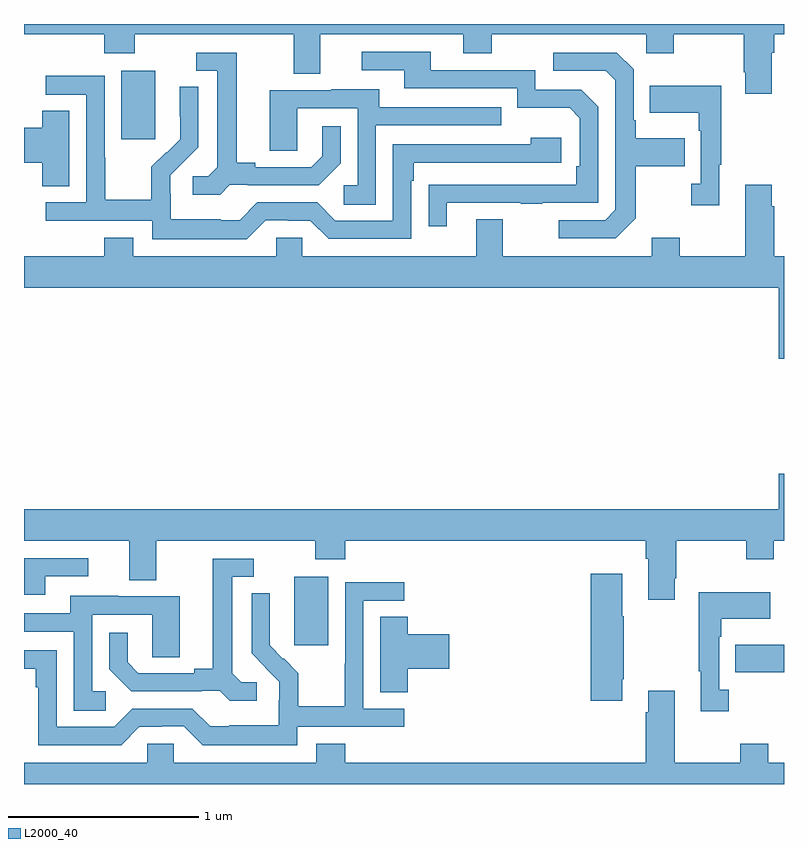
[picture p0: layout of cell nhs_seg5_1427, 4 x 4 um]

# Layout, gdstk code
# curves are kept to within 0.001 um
import gdstk
lib = gdstk.Library(unit=1e-6, precision=1e-09)
def R(c, l, rs):  # rectangles x0, y0, x1, y1
    for r in rs: c.add(gdstk.rectangle(r[:2], r[2:], *l))
def P(c, l, *ps):  # polygons
    for p in ps: c.add(gdstk.Polygon(p, *l))
L2000_40 = (2000, 40)

nhs_seg5_1427 = lib.new_cell('nhs_seg5_1427')
R(nhs_seg5_1427, L2000_40, [(200.743,869.386,201,869.533), (198.422,869.529,198.601,869.89), (197.513,872.193,197.692,872.554)])
P(nhs_seg5_1427, L2000_40, [(200.935,872.648),(200.948,872.648),(200.948,872.744),(201,872.744),(201,872.799),(197,872.799),(197,872.744),(197.423,872.744),(197.423,872.645),(197.583,872.645),(197.583,872.744),(198.419,872.744),(198.419,872.536),(198.559,872.536),(198.559,872.744),(199.313,872.744),(199.313,872.645),(199.461,872.645),(199.461,872.744),(200.274,872.744),(200.274,872.645),(200.421,872.645),(200.421,872.744),(200.788,872.744),(200.788,872.545),(200.795,872.545),(200.795,872.433),(200.935,872.433)],
  [(199.225,871.857),(199.615,871.857),(199.615,871.852),(199.727,871.852),(199.727,871.857),(200.022,871.857),(200.022,872.364),(199.932,872.454),(199.692,872.454),(199.692,872.556),(199.141,872.556),(199.141,872.652),(198.777,872.652),(198.777,872.556),(199.001,872.556),(199.001,872.46),(199.596,872.46),(199.596,872.357),(199.873,872.357),(199.926,872.304),(199.926,872.05),(199.906,872.05),(199.906,871.953),(199.129,871.952),(199.129,871.734),(199.225,871.734)],
  [(198.084,871.953),(198.178,871.953),(198.178,871.95),(198.55,871.95),(198.666,872.066),(198.666,872.26),(198.569,872.26),(198.569,872.103),(198.512,872.046),(198.217,872.046),(198.217,872.069),(198.121,872.069),(198.121,872.649),(197.907,872.649),(197.907,872.553),(198.017,872.553),(198.017,872.045),(197.97,871.998),(197.889,871.998),(197.889,871.901),(198.032,871.901)],
  [(200.221,871.777),(200.221,872.05),(200.477,872.05),(200.477,872.197),(200.221,872.197),(200.221,872.293),(200.208,872.293),(200.208,872.562),(200.121,872.649),(199.785,872.649),(199.785,872.553),(200.061,872.553),(200.112,872.502),(200.112,871.821),(200.058,871.767),(199.815,871.767),(199.815,871.671),(200.115,871.671)],
  [(198.273,871.767),(198.389,871.767),(198.389,871.764),(198.507,871.764),(198.603,871.668),(199.038,871.668),(199.038,871.973),(199.051,871.973),(199.051,872.07),(199.828,872.07),(199.828,872.2),(199.667,872.2),(199.667,872.166),(198.942,872.166),(198.942,871.764),(198.639,871.764),(198.543,871.86),(198.228,871.86),(198.135,871.767),(198.035,871.767),(198.035,871.771),(197.772,871.771),(197.772,871.905),(197.77,871.905),(197.77,872.002),(197.916,872.15),(197.916,872.468),(197.82,872.468),(197.82,872.314),(197.822,872.314),(197.822,872.192),(197.751,872.121),(197.748,872.124),(197.671,872.047),(197.671,871.873),(197.427,871.873),(197.427,872.096),(197.424,872.096),(197.424,872.526),(197.115,872.526),(197.115,872.427),(197.328,872.427),(197.328,871.86),(197.115,871.86),(197.115,871.764),(197.676,871.764),(197.676,871.667),(198.173,871.667)],
  [(200.659,872.057),(200.671,872.057),(200.671,872.473),(200.293,872.473),(200.293,872.333),(200.55,872.333),(200.55,872.237),(200.562,872.237),(200.562,871.958),(200.511,871.958),(200.511,871.845),(200.659,871.845)],
  [(198.852,872.265),(199.511,872.265),(199.511,872.361),(198.871,872.361),(198.871,872.455),(198.617,872.455),(198.617,872.451),(198.293,872.451),(198.293,872.131),(198.438,872.131),(198.438,872.355),(198.756,872.355),(198.756,871.95),(198.684,871.95),(198.684,871.849),(198.852,871.849)],
  [(197.239,872.342),(197.096,872.342),(197.096,872.252),(197,872.252),(197,872.069),(197.096,872.069),(197.096,871.945),(197.239,871.945)],
  [(201,871.576),(200.948,871.576),(200.948,871.841),(200.935,871.841),(200.935,871.954),(200.795,871.954),(200.795,871.576),(200.451,871.576),(200.451,871.675),(200.303,871.675),(200.303,871.576),(199.519,871.576),(199.519,871.771),(199.379,871.771),(199.379,871.576),(198.465,871.576),(198.465,871.674),(198.327,871.674),(198.327,871.576),(197.575,871.576),(197.575,871.675),(197.423,871.675),(197.423,871.576),(197,871.576),(197,871.412),(200.972,871.412),(200.972,871.038),(201,871.038)],
  [(200.425,869.881),(200.433,869.881),(200.433,870.08),(200.8,870.08),(200.8,869.981),(200.946,869.981),(200.946,870.08),(201,870.08),(201,870.433),(200.972,870.433),(200.972,870.244),(197,870.244),(197,870.08),(197.555,870.08),(197.555,869.872),(197.695,869.872),(197.695,870.08),(198.532,870.08),(198.532,869.981),(198.692,869.981),(198.692,870.08),(200.273,870.08),(200.273,869.984),(200.285,869.984),(200.285,869.769),(200.425,869.769)],
  [(197.113,869.892),(197.338,869.892),(197.338,869.988),(197,869.988),(197,869.796),(197.113,869.796)],
  [(198.226,869.334),(198.144,869.334),(198.097,869.381),(198.097,869.889),(198.208,869.889),(198.208,869.985),(197.993,869.985),(197.993,869.405),(197.897,869.405),(197.897,869.382),(197.602,869.382),(197.545,869.439),(197.545,869.596),(197.448,869.596),(197.448,869.402),(197.564,869.286),(197.936,869.286),(197.936,869.289),(198.03,869.289),(198.082,869.237),(198.226,869.237)],
  [(200.149,869.35),(200.157,869.35),(200.157,869.681),(200.149,869.681),(200.149,869.905),(199.982,869.905),(199.982,869.238),(200.149,869.238)],
  [(198.438,869.1),(199,869.1),(199,869.196),(198.786,869.196),(198.786,869.763),(199,869.763),(199,869.862),(198.69,869.862),(198.69,869.432),(198.688,869.432),(198.688,869.209),(198.443,869.209),(198.443,869.383),(198.366,869.46),(198.363,869.457),(198.293,869.528),(198.294,869.804),(198.198,869.804),(198.198,869.486),(198.344,869.338),(198.344,869.241),(198.342,869.241),(198.342,869.107),(198.079,869.107),(198.079,869.103),(197.979,869.103),(197.886,869.196),(197.571,869.196),(197.475,869.1),(197.172,869.1),(197.172,869.502),(197,869.502),(197,869.406),(197.063,869.406),(197.063,869.309),(197.076,869.309),(197.076,869.004),(197.511,869.004),(197.607,869.1),(197.726,869.1),(197.726,869.103),(197.841,869.103),(197.941,869.003),(198.438,869.003)],
  [(200.71,869.294),(200.658,869.294),(200.658,869.573),(200.671,869.573),(200.671,869.669),(200.927,869.669),(200.927,869.809),(200.55,869.809),(200.55,869.393),(200.561,869.393),(200.561,869.181),(200.71,869.181)],
  [(197.431,869.286),(197.358,869.286),(197.358,869.691),(197.676,869.691),(197.676,869.467),(197.821,869.467),(197.821,869.787),(197.497,869.787),(197.497,869.791),(197.243,869.791),(197.243,869.697),(197,869.697),(197,869.601),(197.262,869.601),(197.262,869.185),(197.431,869.185)],
  [(199.019,869.405),(199.237,869.405),(199.237,869.588),(199.019,869.588),(199.019,869.678),(198.875,869.678),(198.875,869.281),(199.019,869.281)],
  [(201,868.912),(200.917,868.912),(200.917,869.011),(200.77,869.011),(200.77,868.912),(200.425,868.912),(200.425,869.29),(200.285,869.29),(200.285,869.177),(200.273,869.177),(200.273,868.912),(198.692,868.912),(198.692,869.011),(198.539,869.011),(198.539,868.912),(197.787,868.912),(197.787,869.01),(197.649,869.01),(197.649,868.912),(197,868.912),(197,868.799),(201,868.799)])

lib.write_gds('nhs_seg5_1427.gds')
